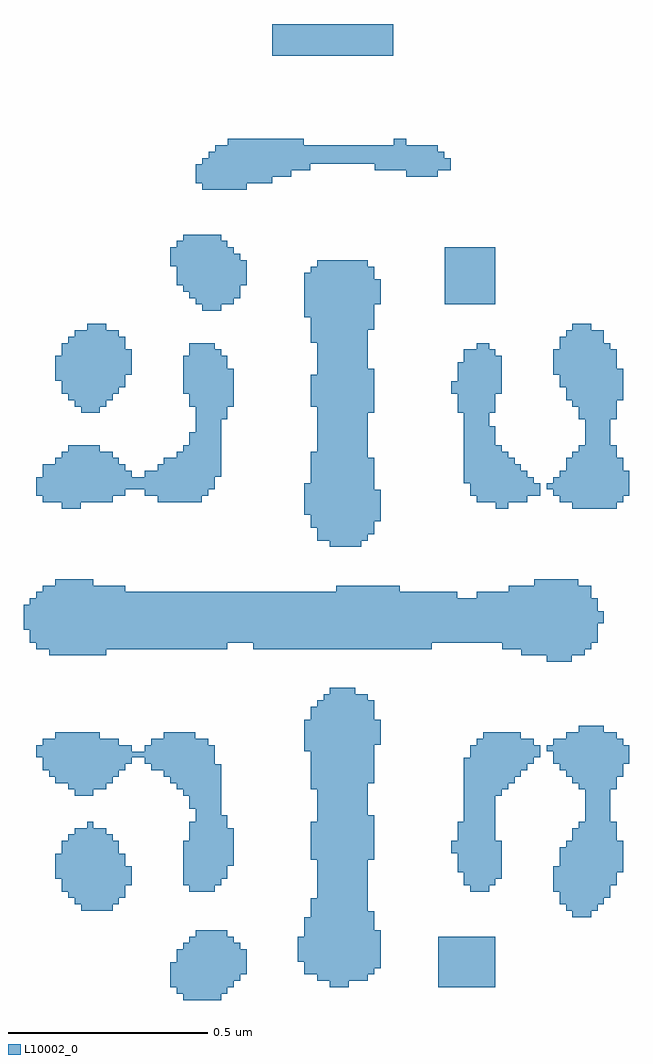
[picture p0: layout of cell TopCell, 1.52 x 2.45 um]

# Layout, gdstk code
import gdstk
lib = gdstk.Library(unit=1e-6, precision=1e-09)
def R(c, l, rs):  # rectangles x0, y0, x1, y1
    for r in rs: c.add(gdstk.rectangle(r[:2], r[2:], *l))
L10002_0 = (10002, 0)

topcell = lib.new_cell('TopCell')
R(topcell, L10002_0, [(1.488,1.056,1.583,1.199), (1.472,1.072,1.488,1.183), (1.583,1.072,1.599,1.231), (1.456,1.088,1.472,1.151), (1.599,1.088,1.615,1.215), (1.856,1.088,1.903,1.839), (2.128,1.088,2.271,1.215), (1.615,1.104,1.631,1.199), (1.824,1.104,1.856,1.807), (1.903,1.104,1.919,1.839), (1.919,1.104,1.951,1.823), (1.631,1.12,1.647,1.183), (1.792,1.12,1.824,1.263), (1.951,1.12,1.967,1.279), (1.967,1.136,1.983,1.231), (1.776,1.152,1.792,1.215), (1.504,1.199,1.583,1.215), (1.52,1.215,1.583,1.231), (1.808,1.263,1.824,1.311), (2.464,1.264,2.511,1.487), (1.232,1.28,1.295,1.487), (1.295,1.28,1.311,1.471), (2.448,1.28,2.464,1.455), (2.511,1.28,2.527,1.743), (1.216,1.296,1.232,1.487), (1.311,1.296,1.327,1.455), (2.432,1.296,2.448,1.439), (2.527,1.296,2.543,1.743), (1.2,1.312,1.216,1.471), (1.327,1.312,1.343,1.423), (2.543,1.312,2.559,1.727), (1.184,1.328,1.2,1.455), (1.504,1.328,1.567,1.503), (2.208,1.328,2.255,1.695), (2.416,1.328,2.432,1.391), (1.343,1.344,1.359,1.391), (1.488,1.344,1.504,1.455), (1.567,1.344,1.583,1.647), (2.192,1.344,2.208,1.663), (2.255,1.344,2.271,1.727), (2.559,1.344,2.575,1.503), (1.168,1.36,1.184,1.423), (1.583,1.36,1.599,1.519), (2.271,1.36,2.287,1.455), (2.176,1.376,2.192,1.503), (2.575,1.376,2.591,1.455), (1.599,1.392,1.615,1.487), (1.808,1.408,1.824,1.503), (1.951,1.408,1.967,1.519), (2.16,1.424,2.176,1.455), (1.248,1.487,1.263,1.503), (2.48,1.487,2.511,1.503), (1.52,1.503,1.551,1.711), (1.551,1.503,1.567,1.695), (2.496,1.503,2.511,1.743), (1.504,1.536,1.519,1.727), (1.519,1.536,1.52,1.711), (1.216,1.568,1.263,1.727), (1.488,1.568,1.504,1.727), (2.271,1.568,2.287,1.727), (1.2,1.584,1.216,1.727), (1.263,1.584,1.279,1.727), (1.279,1.584,1.295,1.711), (1.472,1.584,1.488,1.727), (1.808,1.584,1.824,1.791), (2.287,1.584,2.303,1.727), (2.48,1.584,2.496,1.743), (2.559,1.584,2.575,1.727), (1.168,1.6,1.2,1.727), (1.295,1.6,1.311,1.711), (1.456,1.6,1.472,1.727), (1.951,1.6,1.967,1.807), (2.303,1.6,2.319,1.727), (2.464,1.6,2.48,1.727), (1.152,1.616,1.168,1.711), (1.311,1.616,1.327,1.711), (1.44,1.616,1.456,1.727), (2.319,1.616,2.335,1.727), (2.448,1.616,2.464,1.727), (2.575,1.616,2.591,1.711), (1.136,1.632,1.152,1.711), (1.327,1.632,1.343,1.695), (1.408,1.632,1.44,1.711), (2.335,1.632,2.351,1.711), (2.432,1.632,2.448,1.711), (1.343,1.648,1.359,1.695), (1.392,1.648,1.408,1.695), (2.351,1.648,2.367,1.711), (2.416,1.648,2.432,1.711), (2.591,1.648,2.607,1.695), (1.12,1.664,1.136,1.695), (1.359,1.664,1.392,1.679), (2.367,1.664,2.383,1.695), (1.792,1.68,1.808,1.759), (2.4,1.68,2.416,1.695), (2.224,1.695,2.255,1.711), (1.967,1.696,1.983,1.759), (2.24,1.711,2.255,1.727), (1.84,1.807,1.856,1.823), (2.4,1.904,2.463,2.111), (1.152,1.92,1.295,2.095), (2.336,1.92,2.4,2.095), (2.463,1.92,2.479,2.111), (2.479,1.92,2.495,2.095), (1.12,1.936,1.152,2.079), (1.295,1.936,1.343,2.095), (1.343,1.936,1.599,2.079), (1.664,1.936,2.111,2.079), (2.288,1.936,2.336,2.079), (2.495,1.936,2.511,2.095), (1.104,1.952,1.12,2.063), (1.599,1.952,1.664,2.079), (2.111,1.952,2.175,2.079), (2.175,1.952,2.288,2.063), (2.511,1.952,2.527,2.063), (1.088,1.984,1.104,2.047), (2.527,2,2.543,2.031), (2.224,2.063,2.288,2.079), (1.136,2.079,1.152,2.095), (1.872,2.079,2.031,2.095), (2.304,2.079,2.336,2.095), (1.168,2.095,1.263,2.111), (2.368,2.095,2.4,2.111), (1.856,2.192,1.935,2.911), (1.824,2.208,1.856,2.911), (1.935,2.208,1.951,2.911), (1.951,2.224,1.967,2.415), (1.808,2.24,1.824,2.431), (1.967,2.256,1.983,2.335), (1.792,2.272,1.808,2.351), (1.184,2.288,1.231,2.431), (2.272,2.288,2.287,2.447), (2.287,2.288,2.303,2.431), (2.464,2.288,2.575,2.431), (1.136,2.304,1.184,2.399), (1.231,2.304,1.279,2.447), (1.279,2.304,1.311,2.431), (1.424,2.304,1.535,2.399), (2.224,2.304,2.255,2.703), (2.255,2.304,2.271,2.495), (2.271,2.304,2.272,2.447), (2.303,2.304,2.319,2.415), (2.319,2.304,2.335,2.399), (2.335,2.304,2.351,2.383), (2.432,2.304,2.464,2.383), (2.575,2.304,2.591,2.415), (1.12,2.32,1.136,2.367), (1.311,2.32,1.327,2.415), (1.327,2.32,1.343,2.399), (1.392,2.32,1.424,2.383), (1.535,2.32,1.551,2.703), (2.208,2.32,2.224,2.687), (2.351,2.32,2.367,2.367), (2.367,2.32,2.383,2.351), (2.416,2.32,2.432,2.367), (2.591,2.32,2.607,2.383), (1.343,2.336,1.359,2.383), (1.359,2.336,1.392,2.367), (1.551,2.336,1.567,2.703), (2.4,2.336,2.416,2.351), (2.192,2.352,2.208,2.687), (1.567,2.368,1.583,2.687), (2.448,2.383,2.464,2.415), (1.168,2.399,1.184,2.415), (1.44,2.399,1.535,2.415), (1.472,2.415,1.535,2.431), (1.2,2.431,1.231,2.447), (1.488,2.431,1.535,2.447), (2.48,2.431,2.575,2.447), (1.504,2.447,1.535,2.479), (2.496,2.447,2.511,2.751), (2.511,2.447,2.543,2.735), (2.543,2.447,2.559,2.703), (1.52,2.479,1.535,2.703), (1.583,2.512,1.599,2.671), (2.48,2.512,2.496,2.751), (2.559,2.512,2.575,2.687), (1.232,2.528,1.279,2.735), (1.951,2.528,1.967,2.639), (2.176,2.528,2.192,2.655), (2.255,2.528,2.271,2.687), (1.216,2.544,1.232,2.735), (1.279,2.544,1.295,2.751), (1.504,2.544,1.52,2.703), (1.599,2.544,1.615,2.639), (1.808,2.544,1.824,2.623), (2.464,2.544,2.48,2.751), (1.2,2.56,1.216,2.719), (1.295,2.56,1.311,2.735), (2.448,2.56,2.464,2.735), (2.575,2.56,2.591,2.639), (1.184,2.576,1.2,2.703), (1.311,2.576,1.327,2.735), (1.488,2.576,1.504,2.671), (2.16,2.576,2.176,2.607), (2.271,2.576,2.287,2.671), (1.327,2.592,1.343,2.719), (2.432,2.592,2.448,2.719), (1.168,2.608,1.184,2.671), (1.343,2.624,1.359,2.687), (2.416,2.624,2.432,2.687), (1.808,2.704,1.824,2.895), (1.248,2.735,1.279,2.751), (1.951,2.736,1.967,2.895), (1.792,2.768,1.808,2.879), (1.536,2.784,1.583,2.975), (1.52,2.8,1.536,2.975), (1.583,2.8,1.599,2.959), (1.599,2.8,1.615,2.943), (1.967,2.8,1.983,2.863), (2.144,2.8,2.271,2.943), (1.504,2.816,1.52,2.975), (1.615,2.816,1.631,2.927), (1.488,2.832,1.504,2.975), (1.472,2.848,1.488,2.959), (1.631,2.848,1.647,2.911), (1.456,2.896,1.472,2.943), (1.536,3.088,1.647,3.167), (1.52,3.104,1.536,3.151), (1.647,3.104,1.711,3.215), (1.711,3.12,1.759,3.215), (2.048,3.12,2.127,3.199), (1.759,3.136,1.791,3.215), (1.791,3.136,1.807,3.199), (1.968,3.136,2.048,3.199), (2.127,3.136,2.143,3.183), (2.143,3.136,2.159,3.167), (1.807,3.152,1.968,3.199), (1.552,3.167,1.647,3.183), (1.568,3.183,1.647,3.199), (1.6,3.199,1.647,3.215), (2.016,3.199,2.047,3.215), (1.712,3.424,2.015,3.503)])

lib.write_gds('TopCell.gds')
